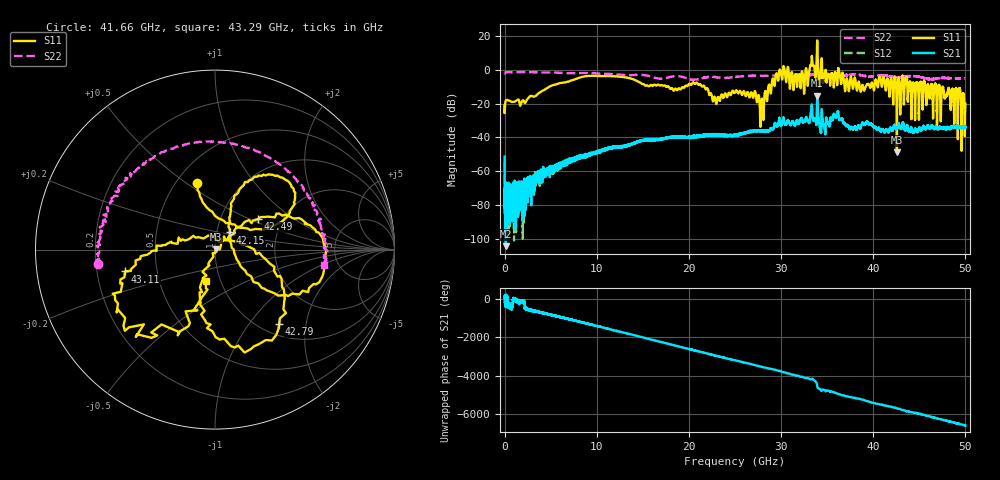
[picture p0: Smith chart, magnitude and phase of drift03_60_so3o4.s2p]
!Created with skrf (http://scikit-rf.org).
# Hz S RI R 50.0
!freq ReS11 ImS11 ReS21 ImS21 ReS12 ImS12 ReS22 ImS22
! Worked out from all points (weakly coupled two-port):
!   10001 points, 300 kHz to 50 GHz, reference 50 ohm
!   highest |S21| = -15.42 dB at 33.92 GHz (marker M1); lowest = -104.5 dB at 135.3 MHz (marker M2)
!   lowest |S11| = -49.0 dB at 42.57 GHz (marker M3), VSWR 1.01, Z = 50.3 + j0.09 ohm
!   |S11| at or under -10 dB: start of sweep to 4.851 GHz; 21.69 GHz to 28.62 GHz (6.931 GHz wide, 27.5 % of centre); 47.56 GHz to end of sweep (the widest 3 of 46)
!   |S22| runs from -5.9 to -1.3 dB; largest |S21 - S12| = 0.016
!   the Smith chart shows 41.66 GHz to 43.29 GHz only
!   S11 on the Smith chart (normalised r, x): 41.66 GHz: 0.63, +0.55; 42.15 GHz: 1.15, +0.22; 42.49 GHz: 1.50, +0.55; 42.79 GHz: 1.20, -1.42; 43.11 GHz: 0.32, -0.11; 43.29 GHz: 0.86, -0.31
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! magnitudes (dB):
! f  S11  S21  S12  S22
! 300 kHz  -21.0  -51.5  -55.0  -2.0
! 135.3 MHz  -18.2  -104.5  -70.9  -1.5
! 2.1 GHz  -18.7  -73.3  -68.8  -1.3
! 8.335 GHz  -4.3  -51.0  -52.1  -1.9
! 16.67 GHz  -8.8  -41.2  -41.4  -5.2
! 21.01 GHz  -8.7  -39.4  -39.2  -5.5
! 22.81 GHz  -16.1  -38.6  -38.1  -4.2
! 25 GHz  -13.4  -38.7  -38.7  -4.3
! 27.91 GHz  -17.2  -36.2  -36.3  -3.5
! 29.69 GHz  -6.4  -32.1  -31.7  -3.1
! 32.32 GHz  -1.5  -30.3  -30.7  -3.2
! 33.34 GHz  7.8  -20.6  -20.8  -2.9
! 33.92 GHz  17.4  -15.4  -15.8  -2.5
! 41.66 GHz  -8.3  -36.9  -36.9  -3.6
! 41.67 GHz  -9.0  -36.7  -36.7  -3.7
! 42.15 GHz  -18.0  -35.2  -35.1  -4.1
! 42.49 GHz  -10.7  -34.7  -34.8  -4.4
! 42.57 GHz  -49.0  -34.7  -34.7  -4.5
! 42.79 GHz  -5.2  -32.0  -32.2  -4.5
! 43.11 GHz  -5.7  -33.8  -33.8  -4.3
! 43.29 GHz  -14.8  -32.6  -33.0  -4.2
! 50 GHz  -20.1  -34.0  -33.6  -5.0
